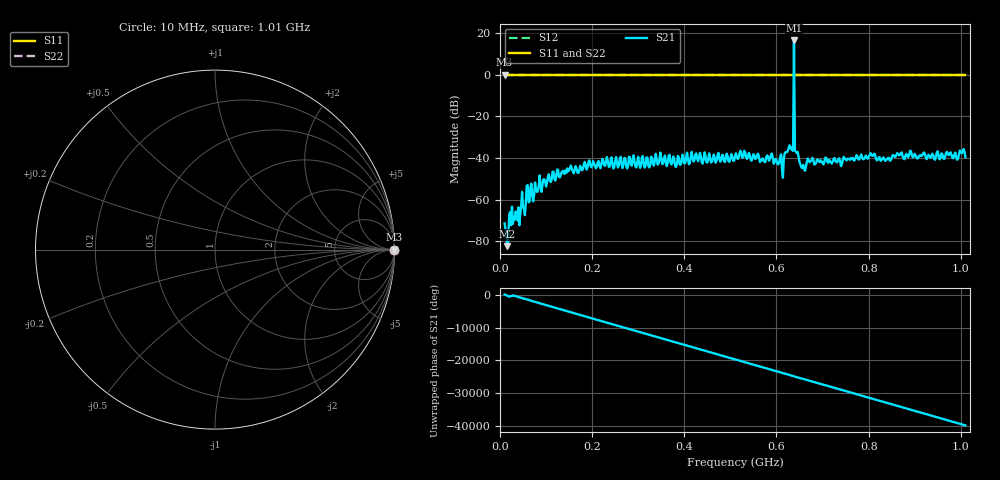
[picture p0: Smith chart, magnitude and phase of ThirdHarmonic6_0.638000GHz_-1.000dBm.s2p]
! 8/15/2025 9:06:23 PM
! C:\ANRITSUVNA\TEMP\TEMP.S2P
! CHANNEL.1
! TR.MEASUREMENT
! RAW.DATA
! RF.CORRECTION.OFF
! AVERAGING.OFF
! IF.BANDWIDTH: 5KHZ
! SWEEPTYPE:  FREQ.SWEEP(Linear)
! Reference Plane Port Info
! PORT:  PORT1  PORT2
! DISTANCE:  0  m  0  m
! TIME:  0  s  0  s
! PHASE.OFFSET:  0  deg.  0  deg.
! LOSS:  0  dB  0  dB
! REF.LOSS:  0  dB  0  dB
! REF.FREQ:  0  Hz  0  Hz
! Power Info
! POWER:  -20  dBm  -20  dBm
! EFF.POWER:  -20  dBm  -20  dBm
! SOURCE.ATTEN:  0  dB  0  dB
! TEST.ATTEN:  0  dB  0  dB
# GHZ S RI R 50.0
! FREQ.GHZ  S11RE  S11IM  S21RE  S21IM  S12RE  S12IM  S22RE  S22IM
!; PortSelection: Port_12
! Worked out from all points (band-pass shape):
!   501 points, 10 MHz to 1.01 GHz, reference 50 ohm
!   highest |S21| = 16.35 dB at 638 MHz (marker M1); lowest = -82.3 dB at 16 MHz (marker M2)
!   |S21| within 3 dB of the highest: 637.8867 MHz to 638.1138 MHz (227.1 kHz wide, 0.0356 % of centre)
!   lowest |S11| = 0.0 dB at 10 MHz (marker M3)
!   |S11| at or under -10 dB: nowhere
!   |S22| runs from 0.0 to 0.0 dB; largest |S21 - S12| = 5.9
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0.01  1 0  7.66e-05 0.000258  1 0  1 0
0.016  1 0  3.59e-05 6.78e-05  1 0  1 0
0.024  1 0  0.000214 -0.000118  1 0  1 0
0.04  1 0  0.000597 0.000262  1 0  1 0
0.062  1 0  -0.000771 -0.000402  1 0  1 0
0.15  1 0  -0.00307 -0.00395  1 0  1 0
0.178  1 0  -0.00506 -0.000136  1 0  1 0
0.344  1 0  0.00665 -0.00312  1 0  1 0
0.51  1 0  -0.00901 0.00593  1 0  1 0
0.588  1 0  -0.00526 -0.0107  1 0  1 0
0.61  1 0  0.00107 0.0121  1 0  1 0
0.632  1 0  -0.00323 -0.0163  1 0  1 0
0.634  1 0  -0.0155 8.13e-05  1 0  1 0
0.638  1 0  4.525 -4.757  1 0  1 0
0.642  1 0  -0.0139 -0.00277  1 0  1 0
0.644  1 0  -0.00622 0.0116  1 0  1 0
0.658  1 0  0.00102 -0.00669  1 0  1 0
0.678  1 0  -0.00869 -0.00515  1 0  1 0
0.808  1 0  0.00982 0.00541  1 0  1 0
0.844  1 0  0.00917 0.0042  1 0  1 0
0.868  1 0  -0.00982 0.0067  1 0  1 0
1.01  1 0  -0.0101 0.00263  1 0  1 0
